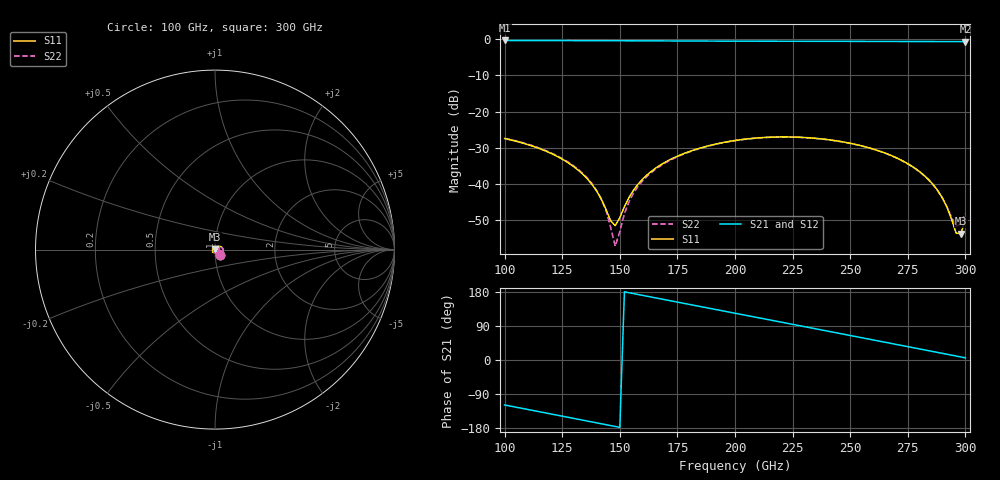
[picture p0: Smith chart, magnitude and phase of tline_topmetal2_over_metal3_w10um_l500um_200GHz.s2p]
#  GHZ S DB R 50
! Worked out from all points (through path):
!   101 points, 100 GHz to 300 GHz, reference 50 ohm
!   highest |S21| = -0.35 dB at 100 GHz (marker M1); lowest = -0.7 dB at 300 GHz (marker M2)
!   group delay of S21, straight-line fit = 3.27 ps
!   lowest |S11| = -53.8 dB at 298 GHz (marker M3), VSWR 1.00, Z = 50.2 + j0.068 ohm
!   |S11| at or under -10 dB: start of sweep to end of sweep
!   |S22| runs from -57.2 to -27.1 dB; largest |S21 - S12| = 1.1e-14
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100  -27.49 -47.2  -0.35 -118.7  -0.35 -118.7  -27.40 -48.9
120  -31.54 -66.4  -0.38 -142.3  -0.38 -142.3  -31.40 -69.4
134  -37.39 -75.9  -0.40 -158.9  -0.40 -158.9  -37.17 -81.9
142  -44.29 -70.1  -0.42 -168.3  -0.42 -168.3  -44.21 -83.4
144  -47.07 -61.5  -0.42 -170.7  -0.42 -170.7  -47.36 -79.8
148  -51.59 -6.1  -0.43 -175.4  -0.43 -175.4  -57.25 -21.0
152  -46.32 41.0  -0.44 179.9  -0.44 179.9  -48.27 52.5
156  -41.72 51.0  -0.45 175.2  -0.45 175.2  -42.53 58.4
162  -37.43 52.2  -0.46 168.1  -0.46 168.1  -37.82 56.5
168  -34.65 49.0  -0.47 161.0  -0.47 161.0  -34.88 51.9
182  -30.67 37.4  -0.51 144.5  -0.51 144.5  -30.78 38.8
200  -28.01 19.1  -0.54 123.4  -0.54 123.4  -28.07 19.5
218  -27.05 -1.0  -0.57 102.3  -0.57 102.3  -27.09 -1.0
234  -27.36 -19.2  -0.59 83.5  -0.59 83.5  -27.39 -19.4
250  -28.79 -37.0  -0.60 64.7  -0.60 64.7  -28.82 -37.4
268  -32.22 -56.1  -0.63 43.5  -0.63 43.5  -32.27 -56.2
278  -35.65 -65.4  -0.64 31.7  -0.64 31.7  -35.72 -64.8
286  -40.20 -69.9  -0.65 22.2  -0.65 22.2  -40.31 -67.7
292  -46.45 -64.6  -0.66 15.1  -0.66 15.1  -46.38 -58.0
296  -53.66 -28.0  -0.67 10.4  -0.67 10.4  -51.72 -17.3
298  -53.78 19.3  -0.67 8.1  -0.67 8.1  -51.11 17.9
300  -50.01 46.9  -0.67 5.7  -0.67 5.7  -48.32 39.8
